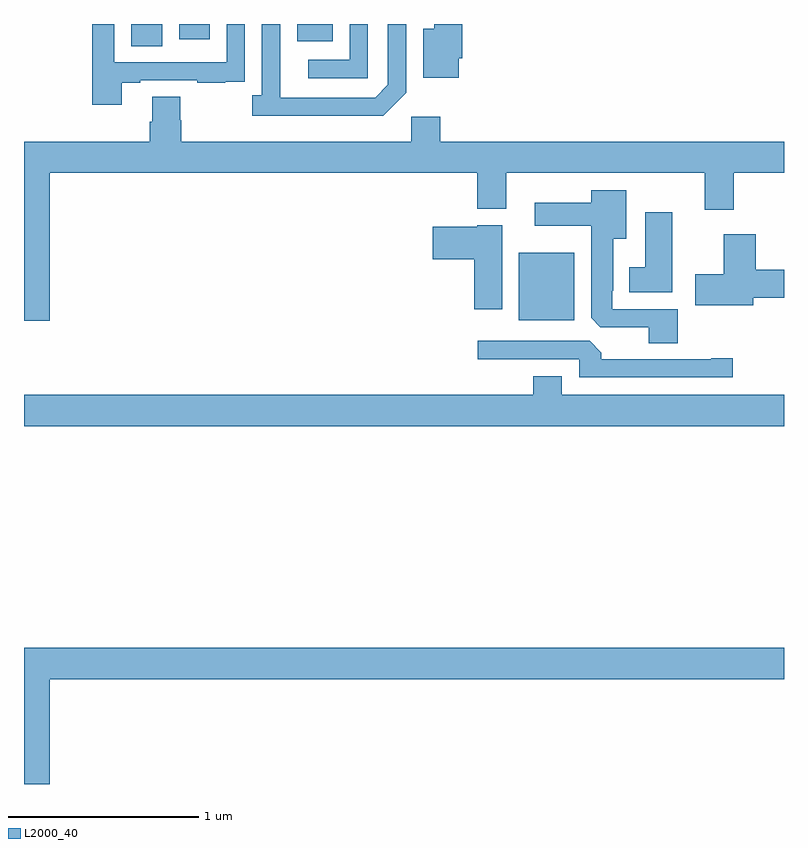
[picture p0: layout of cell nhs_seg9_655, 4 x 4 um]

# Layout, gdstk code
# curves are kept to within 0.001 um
import gdstk
lib = gdstk.Library(unit=1e-6, precision=1e-09)
def R(c, l, rs):  # rectangles x0, y0, x1, y1
    for r in rs: c.add(gdstk.rectangle(r[:2], r[2:], *l))
def P(c, l, *ps):  # polygons
    for p in ps: c.add(gdstk.Polygon(p, *l))
L2000_40 = (2000, 40)

nhs_seg9_655 = lib.new_cell('nhs_seg9_655')
R(nhs_seg9_655, L2000_40, [(145.604,1232.942,145.897,1233.295), (143.564,1234.384,143.728,1234.5), (144.437,1234.409,144.625,1234.5), (143.816,1234.419,143.977,1234.5)])
P(nhs_seg9_655, L2000_40, [(144.81,1234.5),(144.714,1234.5),(144.714,1234.311),(144.495,1234.311),(144.495,1234.215),(144.81,1234.215)],
  [(145.288,1234.321),(145.307,1234.321),(145.307,1234.5),(145.16,1234.5),(145.16,1234.474),(145.1,1234.474),(145.1,1234.217),(145.288,1234.217)],
  [(145.011,1234.137),(145.011,1234.5),(144.915,1234.5),(144.915,1234.179),(144.849,1234.113),(144.349,1234.113),(144.348,1234.5),(144.252,1234.5),(144.252,1234.126),(144.201,1234.126),(144.201,1234.016),(144.89,1234.016)],
  [(143.515,1234.191),(143.611,1234.191),(143.611,1234.203),(143.911,1234.203),(143.911,1234.191),(144.059,1234.191),(144.059,1234.197),(144.161,1234.197),(144.161,1234.306),(144.162,1234.306),(144.162,1234.5),(144.066,1234.5),(144.066,1234.299),(143.475,1234.299),(143.475,1234.5),(143.359,1234.5),(143.359,1234.074),(143.515,1234.074)],
  [(143.135,1233.716),(145.385,1233.716),(145.385,1233.527),(145.537,1233.527),(145.537,1233.716),(146.582,1233.716),(146.582,1233.522),(146.735,1233.522),(146.735,1233.716),(147,1233.716),(147,1233.88),(145.19,1233.88),(145.19,1234.012),(145.038,1234.012),(145.038,1233.88),(143.828,1233.88),(143.828,1233.993),(143.823,1233.993),(143.823,1234.118),(143.675,1234.118),(143.675,1233.986),(143.663,1233.986),(143.663,1233.88),(143,1233.88),(143,1232.937),(143.135,1232.937)],
  [(146.441,1233),(146.097,1233),(146.097,1233.097),(146.101,1233.097),(146.101,1233.371),(146.17,1233.371),(146.17,1233.625),(145.985,1233.625),(145.985,1233.559),(145.689,1233.559),(145.689,1233.437),(145.985,1233.437),(145.985,1232.953),(146.034,1232.904),(146.288,1232.904),(146.288,1232.821),(146.441,1232.821)],
  [(146.413,1233.508),(146.27,1233.508),(146.27,1233.22),(146.186,1233.22),(146.186,1233.089),(146.413,1233.089)],
  [(145.516,1233.442),(145.386,1233.442),(145.386,1233.433),(145.152,1233.433),(145.152,1233.263),(145.37,1233.263),(145.37,1233),(145.516,1233)],
  [(146.839,1233.059),(147,1233.059),(147,1233.206),(146.852,1233.206),(146.852,1233.394),(146.684,1233.394),(146.684,1233.183),(146.532,1233.183),(146.532,1233.02),(146.839,1233.02)],
  [(146.731,1232.741),(146.618,1232.741),(146.618,1232.736),(146.039,1232.736),(146.039,1232.77),(145.977,1232.832),(145.389,1232.832),(145.389,1232.736),(145.923,1232.736),(145.923,1232.64),(146.731,1232.64)],
  [(147,1232.548),(145.831,1232.548),(145.831,1232.647),(145.679,1232.647),(145.679,1232.548),(143,1232.548),(143,1232.384),(147,1232.384)],
  [(143.135,1231.052),(147,1231.052),(147,1231.216),(143,1231.216),(143,1230.5),(143.135,1230.5)])

lib.write_gds('nhs_seg9_655.gds')
